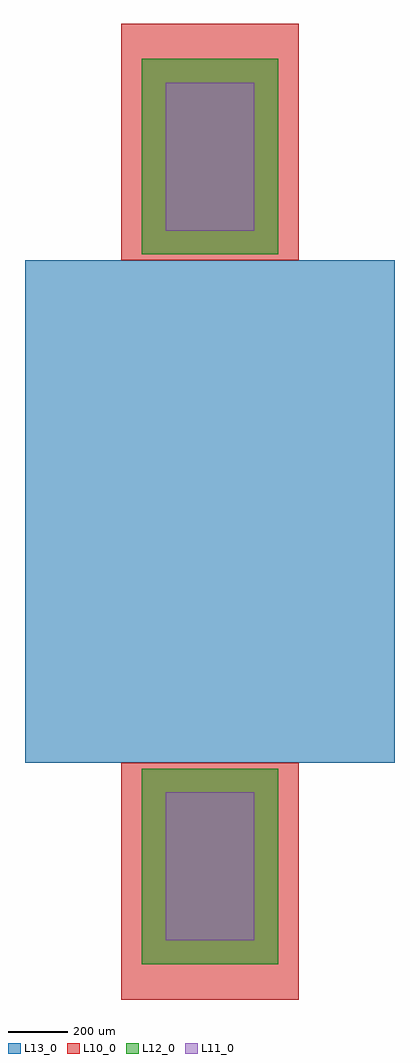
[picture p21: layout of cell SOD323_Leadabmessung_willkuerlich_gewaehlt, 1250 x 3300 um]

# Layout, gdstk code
import gdstk
lib = gdstk.Library(unit=1e-6, precision=1e-09)
def R(c, l, rs):  # rectangles x0, y0, x1, y1
    for r in rs: c.add(gdstk.rectangle(r[:2], r[2:], *l))
L10_0 = (10, 0)
L11_0 = (11, 0)
L12_0 = (12, 0)
L13_0 = (13, 0)

sod323_leadabmessung_wil = lib.new_cell('SOD323_Leadabmessung_willkuerlich_gewaehlt')
R(sod323_leadabmessung_wil, L10_0, [(-300,-1650,300,-850), (-300,850,300,1650)])
R(sod323_leadabmessung_wil, L11_0, [(-150,-1450,150,-950), (-150,950,150,1450)])
R(sod323_leadabmessung_wil, L12_0, [(-230,-1530,230,-870), (-230,870,230,1530)])
R(sod323_leadabmessung_wil, L13_0, [(-625,-850,625,850)])

lib.write_gds('SOD323_Leadabmessung_willkuerlich_gewaehlt.gds')
